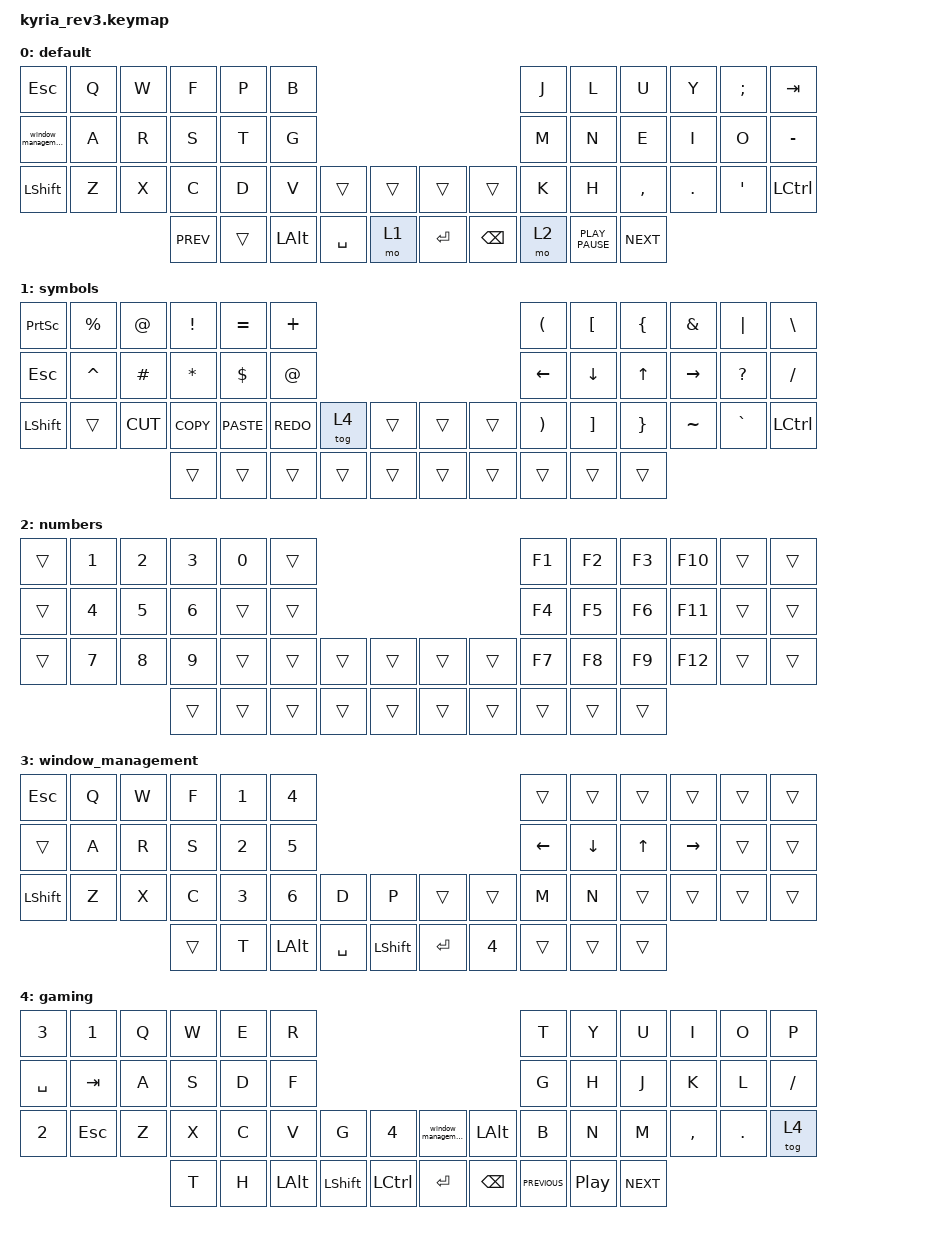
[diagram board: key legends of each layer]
/*
 * Copyright (c) 2023 The ZMK Contributors
 *
 * SPDX-License-Identifier: MIT
 */

#include <behaviors.dtsi>
#include <dt-bindings/zmk/keys.h>

/* Uncomment this block if using RGB
&led_strip {
    chain-length = <6>;
    // chain-length = <31>; // Uncomment if using both per-key and underglow LEDs
    // chain-length = <25>; // Uncomment if using only per-key LEDs.
};
 */

/ {
    combos { compatible = "zmk,combos"; };

    macros {
        window_management: window_management {
            compatible = "zmk,behavior-macro";
            #binding-cells = <0>;
            wait-ms = <0>;
            bindings =
                <&macro_press>,
                <&kp LEFT_GUI &mo 3>,
                <&macro_pause_for_release>,
                <&macro_release>,
                <&kp LEFT_GUI &mo 3>;

            label = "WINDOW_MANAGEMENT";
        };
    };

    keymap {
        compatible = "zmk,keymap";

        default {
            // ---------------------------------------------------------------------------------------------------------------------------------
            // |  ESC  |  Q  |  W  |  E   |  R   |  T   |                                          |  Y   |  U    |  I    |  O   |   P   |   \  |
            // |  TAB  |  A  |  S  |  D   |  F   |  G   |                                          |  H   |  J    |  K    |  L   |   ;   |   '  |
            // | SHIFT |  Z  |  X  |  C   |  V   |  B   | L SHIFT | L SHIFT |  | LAYER 1 | L SHIFT |  N   |  M    |  ,    |  .   |   /   | CTRL |
            //                     | GUI  | DEL  | RET  |  SPACE  |   ESC   |  |   RET   |  SPACE  | TAB  | BSPC  | R-ALT |

            bindings = <
&kp ESCAPE          &kp Q  &kp W  &kp F       &kp P   &kp B                                                      &kp J  &kp L             &kp U       &kp Y       &kp SEMI          &kp TAB
&window_management  &kp A  &kp R  &kp S       &kp T   &kp G                                                      &kp M  &kp N             &kp E       &kp I       &kp O             &kp MINUS
&kp LEFT_SHIFT      &kp Z  &kp X  &kp C       &kp D   &kp V         &trans     &trans  &trans     &trans         &kp K  &kp H             &kp COMMA   &kp PERIOD  &kp SINGLE_QUOTE  &kp LCTRL
                                  &kp K_PREV  &trans  &kp LEFT_ALT  &kp SPACE  &mo 1   &kp ENTER  &kp BACKSPACE  &mo 2  &kp K_PLAY_PAUSE  &kp K_NEXT
            >;
        };

        symbols {
            // ---------------------------------------------------------------------------------------------------------------------------------
            // |       |      |BT_CLR|BTSEL0|BTSEL1|BTSEL2|                                         |      |      |      |      |      |      |
            // |       |      |      |BTSEL3|BTSEL4|      |                                         |      |      |      |      |      |      |
            // |       |      |      |      |      |      |      |      |      |      |      |      |      |      |      |      |      |      |
            //                       |      |      |      |      |      |      |      |      |      |      |      |      |

            bindings = <
&kp PRINTSCREEN  &kp PERCENT  &kp AT     &kp EXCL    &kp EQUAL    &kp PLUS                                    &kp LEFT_PARENTHESIS   &kp LEFT_BRACKET   &kp LEFT_BRACE   &kp AMPERSAND  &kp PIPE      &kp BACKSLASH
&kp ESCAPE       &kp CARET    &kp POUND  &kp STAR    &kp DOLLAR   &kp AT                                      &kp LEFT_ARROW         &kp DOWN           &kp UP_ARROW     &kp RIGHT      &kp QUESTION  &kp SLASH
&kp LEFT_SHIFT   &trans       &kp K_CUT  &kp K_COPY  &kp K_PASTE  &kp K_REDO  &tog 4  &trans  &trans  &trans  &kp RIGHT_PARENTHESIS  &kp RIGHT_BRACKET  &kp RIGHT_BRACE  &kp TILDE      &kp GRAVE     &kp LCTRL
                                         &trans      &trans       &trans      &trans  &trans  &trans  &trans  &trans                 &trans             &trans
            >;
        };

        numbers {
            bindings = <
&trans  &kp NUMBER_1  &kp N2  &kp N3  &kp N0  &trans                                  &kp F1  &kp F2  &kp F3  &kp F10  &trans  &trans
&trans  &kp N4        &kp N5  &kp N6  &trans  &trans                                  &kp F4  &kp F5  &kp F6  &kp F11  &trans  &trans
&trans  &kp N7        &kp N8  &kp N9  &trans  &trans  &trans  &trans  &trans  &trans  &kp F7  &kp F8  &kp F9  &kp F12  &trans  &trans
                              &trans  &trans  &trans  &trans  &trans  &trans  &trans  &trans  &trans  &trans
            >;
        };

        window_management {
            bindings = <
&kp ESCAPE      &kp Q  &kp W  &kp F   &kp N1        &kp N4                                                            &trans          &trans          &trans        &trans           &trans  &trans
&trans          &kp A  &kp R  &kp S   &kp NUMBER_2  &kp N5                                                            &kp LEFT_ARROW  &kp DOWN_ARROW  &kp UP_ARROW  &kp RIGHT_ARROW  &trans  &trans
&kp LEFT_SHIFT  &kp Z  &kp X  &kp C   &kp N3        &kp N6        &kp D      &kp P           &trans     &trans        &kp M           &kp N           &trans        &trans           &trans  &trans
                              &trans  &kp T         &kp LEFT_ALT  &kp SPACE  &kp LEFT_SHIFT  &kp ENTER  &kp NUMBER_4  &trans          &trans          &trans
            >;
        };

        gaming {
            bindings = <
&kp NUMBER_3  &kp NUMBER_1  &kp Q  &kp W  &kp E  &kp R                                                                         &kp T           &kp Y             &kp U       &kp I      &kp O    &kp P
&kp SPACE     &kp TAB       &kp A  &kp S  &kp D  &kp F                                                                         &kp G           &kp H             &kp J       &kp K      &kp L    &kp FSLH
&kp NUMBER_2  &kp ESCAPE    &kp Z  &kp X  &kp C  &kp V         &kp G           &kp NUMBER_4  &window_management  &kp LEFT_ALT  &kp B           &kp N             &kp M       &kp COMMA  &kp DOT  &tog 4
                                   &kp T  &kp H  &kp LEFT_ALT  &kp LEFT_SHIFT  &kp LCTRL     &kp ENTER           &kp BSPC      &kp C_PREVIOUS  &kp C_PLAY_PAUSE  &kp C_NEXT
            >;
        };
    };
};
